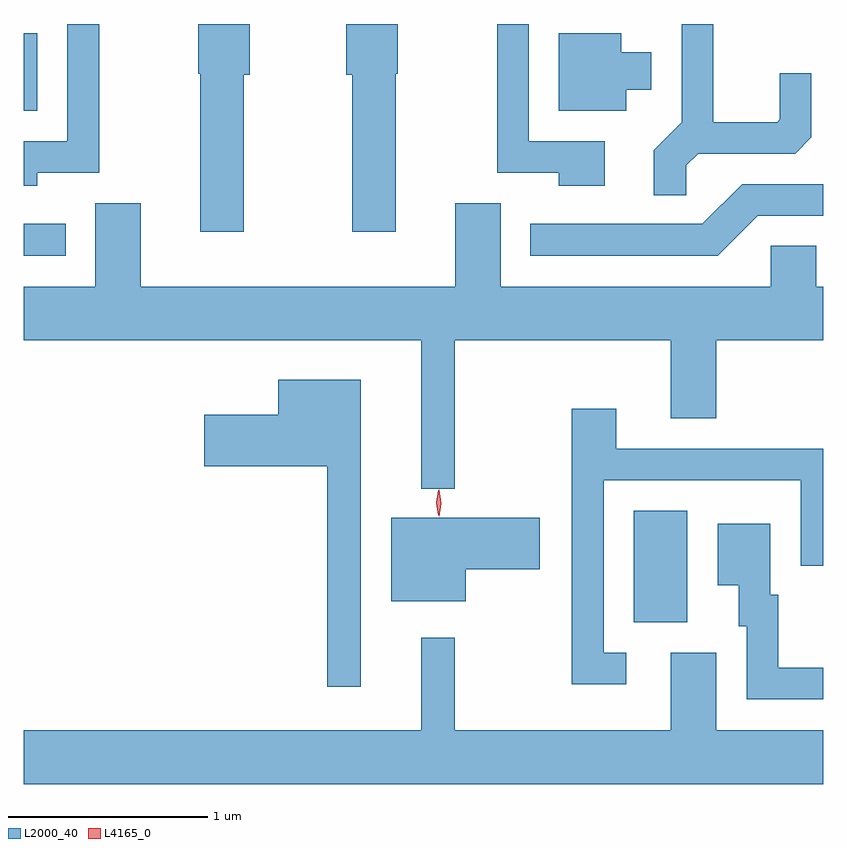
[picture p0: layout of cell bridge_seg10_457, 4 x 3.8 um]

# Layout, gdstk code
import gdstk
lib = gdstk.Library(unit=1e-6, precision=1e-09)
def R(c, l, rs):  # rectangles x0, y0, x1, y1
    for r in rs: c.add(gdstk.rectangle(r[:2], r[2:], *l))
def P(c, l, *ps):  # polygons
    for p in ps: c.add(gdstk.Polygon(p, *l))
L2000_40 = (2000, 40)
L4165_0 = (4165, 0)

bridge_seg10_457 = lib.new_cell('bridge_seg10_457')
R(bridge_seg10_457, L2000_40, [(1058.086,2161.346,1058.354,2161.904), (1055.033,2163.181,1055.243,2163.339), (1055.033,2163.906,1055.099,2164.294)])
P(bridge_seg10_457, L2000_40, [(1056.894,2164.09),(1056.904,2164.09),(1056.904,2164.34),(1056.646,2164.34),(1056.646,2164.086),(1056.676,2164.086),(1056.676,2163.301),(1056.894,2163.301)],
  [(1055.099,2163.596),(1055.409,2163.596),(1055.409,2164.34),(1055.251,2164.34),(1055.251,2163.754),(1055.033,2163.754),(1055.033,2163.531),(1055.099,2163.531)],
  [(1057.939,2163.754),(1057.559,2163.754),(1057.559,2164.34),(1057.401,2164.34),(1057.401,2163.596),(1057.711,2163.596),(1057.711,2163.531),(1057.939,2163.531)],
  [(1058.349,2163.634),(1058.407,2163.691),(1058.894,2163.691),(1058.974,2163.772),(1058.974,2164.093),(1058.816,2164.093),(1058.816,2163.862),(1058.804,2163.849),(1058.484,2163.849),(1058.484,2164.34),(1058.326,2164.34),(1058.326,2163.847),(1058.186,2163.707),(1058.186,2163.483),(1058.349,2163.483)],
  [(1056.134,2164.086),(1056.164,2164.086),(1056.164,2164.34),(1055.906,2164.34),(1055.906,2164.09),(1055.916,2164.09),(1055.916,2163.301),(1056.134,2163.301)],
  [(1058.049,2164.011),(1058.174,2164.011),(1058.174,2164.199),(1058.024,2164.199),(1058.024,2164.294),(1057.711,2164.294),(1057.711,2163.906),(1058.049,2163.906)],
  [(1058.707,2163.381),(1059.033,2163.381),(1059.033,2163.539),(1058.629,2163.539),(1058.429,2163.339),(1057.568,2163.339),(1057.568,2163.181),(1058.507,2163.181)],
  [(1057.189,2162.756),(1058.271,2162.756),(1058.271,2162.366),(1058.499,2162.366),(1058.499,2162.756),(1059.033,2162.756),(1059.033,2163.024),(1058.999,2163.024),(1058.999,2163.229),(1058.771,2163.229),(1058.771,2163.024),(1057.419,2163.024),(1057.419,2163.444),(1057.191,2163.444),(1057.191,2163.024),(1055.619,2163.024),(1055.619,2163.444),(1055.391,2163.444),(1055.391,2163.024),(1055.033,2163.024),(1055.033,2162.756),(1057.021,2162.756),(1057.021,2162.013),(1057.189,2162.013)],
  [(1056.719,2162.559),(1056.306,2162.559),(1056.306,2162.384),(1055.936,2162.384),(1055.936,2162.126),(1056.551,2162.126),(1056.551,2161.023),(1056.719,2161.023)],
  [(1058.048,2161.194),(1057.934,2161.194),(1057.934,2162.056),(1058.921,2162.056),(1058.921,2161.628),(1059.033,2161.628),(1059.033,2162.214),(1057.999,2162.214),(1057.999,2162.414),(1057.776,2162.414),(1057.776,2161.036),(1058.048,2161.036)],
  [(1057.244,2161.611),(1057.614,2161.611),(1057.614,2161.869),(1056.871,2161.869),(1056.871,2161.451),(1057.244,2161.451)],
  [(1059.033,2161.119),(1058.809,2161.119),(1058.809,2161.484),(1058.769,2161.484),(1058.769,2161.839),(1058.506,2161.839),(1058.506,2161.531),(1058.611,2161.531),(1058.611,2161.326),(1058.651,2161.326),(1058.651,2160.961),(1059.033,2160.961)],
  [(1059.033,2160.804),(1058.499,2160.804),(1058.499,2161.194),(1058.271,2161.194),(1058.271,2160.804),(1057.189,2160.804),(1057.189,2161.268),(1057.021,2161.268),(1057.021,2160.804),(1055.033,2160.804),(1055.033,2160.536),(1059.033,2160.536)])
P(bridge_seg10_457, L4165_0, [(1057.111,2161.874),(1057.102,2161.942),(1057.111,2162.01),(1057.111,2162.01),(1057.112,2162.01),(1057.121,2161.942),(1057.112,2161.874),(1057.112,2161.874)],
  [(1057.108,2161.88),(1057.108,2161.88),(1057.098,2161.943),(1057.108,2162.006),(1057.108,2162.007),(1057.109,2162.006),(1057.118,2161.943),(1057.109,2161.88)])

lib.write_gds('bridge_seg10_457.gds')
